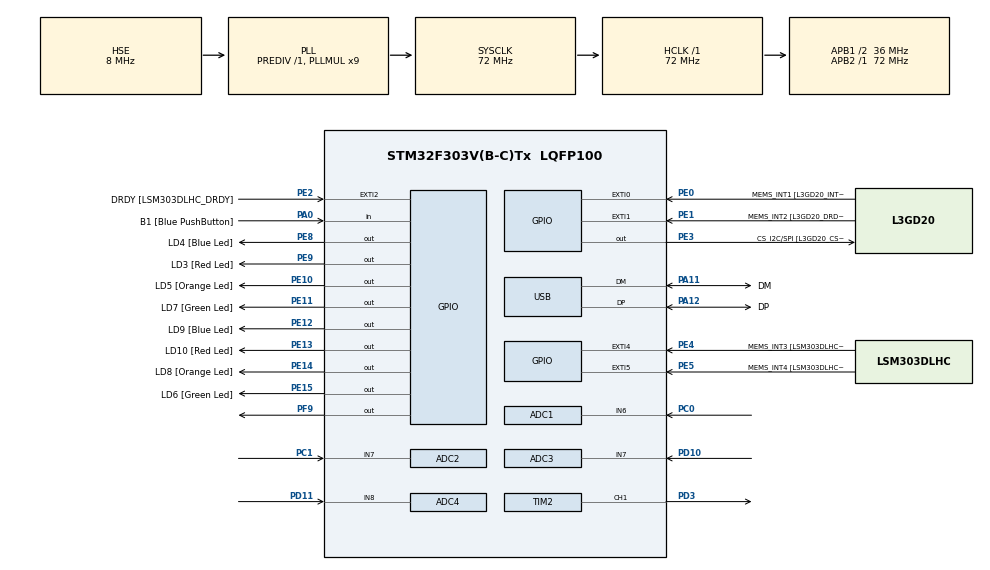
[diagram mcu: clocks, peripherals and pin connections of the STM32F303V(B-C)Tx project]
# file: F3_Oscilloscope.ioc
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ADC1.Channel-0\#ChannelRegularConversion=ADC_CHANNEL_6
ADC1.ClockPrescaler=ADC_CLOCKPRESCALER_PCLK_DIV1
ADC1.DMAAccessMode=ADC_DMAACCESSMODE_8_6_BITS
ADC1.DMAContinuousRequests=ENABLE
ADC1.ExternalTrigConv=ADC_EXTERNALTRIGCONV_T1_TRGO
ADC1.ExternalTrigConvEdge=ADC_EXTERNALTRIGCONVEDGE_RISINGFALLING
ADC1.Mode=ADC_DUALMODE_REGSIMULT
ADC1.NbrOfConversionFlag=1
ADC1.Resolution=ADC_RESOLUTION8b
ADC1.master=1
ADC2.Channel-0\#ChannelRegularConversion=ADC_CHANNEL_7
ADC2.ClockPrescaler=ADC_CLOCKPRESCALER_PCLK_DIV1
ADC2.DMAAccessMode=ADC_DMAACCESSMODE_8_6_BITS
ADC2.Mode=ADC_DUALMODE_REGSIMULT
ADC2.NbrOfConversionFlag=1
ADC2.Resolution=ADC_RESOLUTION8b
ADC3.ClockPrescaler=ADC_CLOCKPRESCALER_PCLK_DIV1
ADC3.DMAAccessMode=ADC_DMAACCESSMODE_8_6_BITS
ADC3.ExternalTrigConv=ADC_EXTERNALTRIGCONV_T1_TRGO2
ADC3.ExternalTrigConvEdge=ADC_EXTERNALTRIGCONVEDGE_RISINGFALLING
ADC3.Mode=ADC_DUALMODE_REGSIMULT
ADC3.Resolution=ADC_RESOLUTION8b
ADC3.master=1
ADC4.ClockPrescaler=ADC_CLOCKPRESCALER_PCLK_DIV1
ADC4.DMAAccessMode=ADC_DMAACCESSMODE_8_6_BITS
ADC4.Mode=ADC_DUALMODE_REGSIMULT
ADC4.Resolution=ADC_RESOLUTION8b
Dma.ADC1.0.Direction=DMA_PERIPH_TO_MEMORY
Dma.ADC1.0.Instance=DMA1_Channel1
Dma.ADC1.0.MemDataAlignment=DMA_MDATAALIGN_HALFWORD
Dma.ADC1.0.MemInc=DMA_MINC_ENABLE
Dma.ADC1.0.Mode=DMA_NORMAL
Dma.ADC1.0.PeriphDataAlignment=DMA_PDATAALIGN_HALFWORD
Dma.ADC1.0.PeriphInc=DMA_PINC_DISABLE
Dma.ADC1.0.Priority=DMA_PRIORITY_HIGH
Dma.ADC3.1.Direction=DMA_PERIPH_TO_MEMORY
Dma.ADC3.1.Instance=DMA2_Channel5
Dma.ADC3.1.MemDataAlignment=DMA_MDATAALIGN_HALFWORD
Dma.ADC3.1.MemInc=DMA_MINC_ENABLE
Dma.ADC3.1.Mode=DMA_NORMAL
Dma.ADC3.1.PeriphDataAlignment=DMA_PDATAALIGN_HALFWORD
Dma.ADC3.1.PeriphInc=DMA_PINC_DISABLE
Dma.ADC3.1.Priority=DMA_PRIORITY_HIGH
Dma.Request0=ADC1
Dma.Request1=ADC3
Mcu.Family=STM32F3
Mcu.Name=STM32F303V(B-C)Tx
Mcu.Package=LQFP100
NVIC.PriorityGroup=NVIC_PRIORITYGROUP_0
NVIC.USB_LP_CAN_RX0_IRQn=true\:0\:0\:false
PA0.GPIO_Label=B1 [Blue PushButton]
PA0.GPIO_Mode=GPIO_MODE_INPUT
PA0.GPIO_PuPd=GPIO_NOPULL
PA0.Signal=GPIO_Input
PA11.GPIO_Label=DM
PA11.GPIO_Mode=GPIO_MODE_AF_PP
PA11.GPIO_PuPd=GPIO_NOPULL
PA11.GPIO_Speed=GPIO_SPEED_LOW
PA11.Mode=Device
PA11.Signal=USB_DM
PA12.GPIO_Label=DP
PA12.GPIO_Mode=GPIO_MODE_AF_PP
PA12.GPIO_PuPd=GPIO_NOPULL
PA12.GPIO_Speed=GPIO_SPEED_LOW
PA12.Mode=Device
PA12.Signal=USB_DP
PA13.GPIO_Label=SWDIO
PA13.Mode=Trace-Asynchronous_SW
PA13.Signal=SYS_JTMS-SWDIO
PA14.GPIO_Label=SWCLK
PA14.Mode=Trace-Asynchronous_SW
PA14.Signal=SYS_JTCK-SWCLK
PA5.GPIO_Label=SPI1_SCK [L3GD20_SCL/SPC]
PA5.GPIO_Mode=GPIO_MODE_AF_PP
PA5.GPIO_PuPd=GPIO_NOPULL
PA5.GPIO_Speed=GPIO_SPEED_LOW
PA5.Signal=SPI1_SCK
PA6.GPIO_Label=SPI1_MISO [L3GD20_SA0/SDO]
PA6.GPIO_Mode=GPIO_MODE_AF_PP
PA6.GPIO_PuPd=GPIO_NOPULL
PA6.GPIO_Speed=GPIO_SPEED_LOW
PA6.Signal=SPI1_MISO
PA7.GPIO_Label=SPI1_MISO [L3GD20_SDA/SDI/SDO]
PA7.GPIO_Mode=GPIO_MODE_AF_PP
PA7.GPIO_PuPd=GPIO_NOPULL
PA7.GPIO_Speed=GPIO_SPEED_LOW
PA7.Signal=SPI1_MOSI
PB3.GPIO_Label=SWO
PB3.Mode=Trace-Asynchronous_SW
PB3.Signal=SYS_JTDO-TRACESWO
PB6.GPIO_FM6=__NULL
PB6.GPIO_Label=I2C1_SCL [LSM303DLHC_SCL]
PB6.GPIO_Mode=GPIO_MODE_AF_OD
PB6.GPIO_PuPd=GPIO_NOPULL
PB6.GPIO_PuPdOD=GPIO_PULLUP
PB6.GPIO_Speed=GPIO_SPEED_LOW
PB6.Signal=I2C1_SCL
PB7.GPIO_FM7=__NULL
PB7.GPIO_Label=I2C1_SDA [LSM303DLHC_SDA]
PB7.GPIO_Mode=GPIO_MODE_AF_OD
PB7.GPIO_PuPd=GPIO_NOPULL
PB7.GPIO_PuPdOD=GPIO_PULLUP
PB7.GPIO_Speed=GPIO_SPEED_LOW
PB7.Signal=I2C1_SDA
PC0.Signal=ADCx_IN6
PC1.Signal=ADCx_IN7
PC14-OSC32_IN.GPIO_Label=OSC32_IN
PC14-OSC32_IN.Signal=RCC_OSC32_IN
PC15-OSC32_OUT.GPIO_Label=OSC32_OUT
PC15-OSC32_OUT.Signal=RCC_OSC32_OUT
PD10.Signal=ADCx_IN7P
PD11.Signal=ADCx_IN8P
PD3.Signal=S_TIM2_CH1_ETR
PE0.GPIO_Label=MEMS_INT1 [L3GD20_INT1]
PE0.GPIO_ModeDefaultEXTI=GPIO_MODE_EVT_RISING
PE0.GPIO_PuPd=GPIO_NOPULL
PE0.Signal=GPXTI0
PE1.GPIO_Label=MEMS_INT2 [L3GD20_DRDY/INT2]
PE1.GPIO_ModeDefaultEXTI=GPIO_MODE_EVT_RISING
PE1.GPIO_PuPd=GPIO_NOPULL
PE1.Signal=GPXTI1
PE10.GPIO_Label=LD5 [Orange Led]
PE10.GPIO_ModeDefaultOutputPP=GPIO_MODE_OUTPUT_PP
PE10.GPIO_PuPd=GPIO_NOPULL
PE10.GPIO_Speed=GPIO_SPEED_LOW
PE10.Signal=GPIO_Output
PE11.GPIO_Label=LD7 [Green Led]
PE11.GPIO_ModeDefaultOutputPP=GPIO_MODE_OUTPUT_PP
PE11.GPIO_PuPd=GPIO_NOPULL
PE11.GPIO_Speed=GPIO_SPEED_LOW
PE11.Signal=GPIO_Output
PE12.GPIO_Label=LD9 [Blue Led]
PE12.GPIO_ModeDefaultOutputPP=GPIO_MODE_OUTPUT_PP
PE12.GPIO_PuPd=GPIO_NOPULL
PE12.GPIO_Speed=GPIO_SPEED_LOW
PE12.Signal=GPIO_Output
PE13.GPIO_Label=LD10 [Red Led]
PE13.GPIO_ModeDefaultOutputPP=GPIO_MODE_OUTPUT_PP
PE13.GPIO_PuPd=GPIO_NOPULL
PE13.GPIO_Speed=GPIO_SPEED_LOW
PE13.Signal=GPIO_Output
PE14.GPIO_Label=LD8 [Orange Led]
PE14.GPIO_ModeDefaultOutputPP=GPIO_MODE_OUTPUT_PP
PE14.GPIO_PuPd=GPIO_NOPULL
PE14.GPIO_Speed=GPIO_SPEED_LOW
PE14.Signal=GPIO_Output
PE15.GPIO_Label=LD6 [Green Led]
PE15.GPIO_ModeDefaultOutputPP=GPIO_MODE_OUTPUT_PP
PE15.GPIO_PuPd=GPIO_NOPULL
PE15.GPIO_Speed=GPIO_SPEED_LOW
PE15.Signal=GPIO_Output
PE2.GPIO_Label=DRDY [LSM303DLHC_DRDY]
PE2.GPIO_ModeDefaultEXTI=GPIO_MODE_EVT_RISING
PE2.GPIO_PuPd=GPIO_NOPULL
PE2.Signal=GPXTI2
PE3.GPIO_Label=CS_I2C/SPI [L3GD20_CS_I2C/SPI]
PE3.GPIO_ModeDefaultOutputPP=GPIO_MODE_OUTPUT_PP
PE3.GPIO_PuPd=GPIO_NOPULL
PE3.GPIO_Speed=GPIO_SPEED_LOW
PE3.Signal=GPIO_Output
PE4.GPIO_Label=MEMS_INT3 [LSM303DLHC_INT1]
PE4.GPIO_ModeDefaultEXTI=GPIO_MODE_EVT_RISING
PE4.GPIO_PuPd=GPIO_NOPULL
PE4.Signal=GPXTI4
PE5.GPIO_Label=MEMS_INT4 [LSM303DLHC_INT2]
PE5.GPIO_ModeDefaultEXTI=GPIO_MODE_EVT_RISING
PE5.GPIO_PuPd=GPIO_NOPULL
PE5.Signal=GPXTI5
PE8.GPIO_Label=LD4 [Blue Led]
PE8.GPIO_ModeDefaultOutputPP=GPIO_MODE_OUTPUT_PP
PE8.GPIO_PuPd=GPIO_NOPULL
PE8.GPIO_Speed=GPIO_SPEED_LOW
PE8.Signal=GPIO_Output
PE9.GPIO_Label=LD3 [Red Led]
PE9.GPIO_ModeDefaultOutputPP=GPIO_MODE_OUTPUT_PP
PE9.GPIO_PuPd=GPIO_NOPULL
PE9.GPIO_Speed=GPIO_SPEED_LOW
PE9.Signal=GPIO_Output
PF0-OSC_IN.GPIO_Label=OSC_IN
PF0-OSC_IN.Mode=HSE-External-Oscillator
PF0-OSC_IN.Signal=RCC_OSC_IN
PF1-OSC_OUT.GPIO_Label=OSC_OUT
PF1-OSC_OUT.Mode=HSE-External-Oscillator
PF1-OSC_OUT.Signal=RCC_OSC_OUT
PF9.Signal=GPIO_Output
ProjectManager.TargetToolchain=MDK-ARM 4.73
RCC.AHBFreq_Value=72000000
RCC.APB1CLKDivider=RCC_HCLK_DIV2
RCC.APB1Freq_Value=36000000
RCC.APB1TimFreq_Value=72000000
RCC.APB2Freq_Value=72000000
RCC.APB2TimFreq_Value=72000000
RCC.CortexFreq_Value=9000000
RCC.HCLKFreq_Value=72000000
RCC.HSE_VALUE=8000000
RCC.HSIState=RCC_HSI_ON
RCC.HSI_VALUE=8000000
RCC.LSE_VALUE=32768
RCC.PLLMUL=RCC_PLL_MUL9
RCC.PRESCALERUSB=RCC_USBPLLCLK_DIV1_5
RCC.SYSCLKFreq_VALUE=72000000
RCC.SYSCLKSourceVirtual=RCC_SYSCLKSOURCE_PLLCLK
RCC.USBFreq_Value=48000000
SH.ADCx_IN6.0=ADC1_IN6,IN6-Single-Ended
SH.ADCx_IN7.0=ADC2_IN7,IN7-Single-Ended
SH.ADCx_IN7P.0=ADC3_IN7,IN7-Single-Ended
SH.ADCx_IN8P.0=ADC4_IN8,IN8-Single-Ended
SH.S_TIM2_CH1_ETR.0=TIM2_CH1,PWM Generation1 CH1
TIM1.Period=11
TIM1.TIM_MasterOutputTrigger=TIM_TRGO_UPDATE
TIM1.TIM_MasterOutputTrigger2=TIM_TRGO2_UPDATE
TIM1.TIM_MasterSlaveMode=TIM_MASTERSLAVEMODE_ENABLE
TIM2.Period=49
TIM2.Prescaler=71
TIM2.Pulse-PWM\ Generation1\ CH1=20
USB_DEVICE.CLASS_NAME-CDC_FS=CDC
USB_DEVICE.MANUFACTURER_STRING-CDC_FS=A.S.Tech
USB_DEVICE.PRODUCT_STRING_FS-CDC_FS=USB Oscilloscope
USB_DEVICE.USBD_HandleTypeDef-CDC_FS=hUsbDeviceFS
USB_DEVICE.VirtualMode-CDC_FS=Cdc
USB_DEVICE.VirtualModeFS-CDC_FS=Cdc_FS
VP_TIM1_VS_ClockSourceINT.Mode=Internal
VP_TIM2_VS_ClockSourceINT.Mode=Internal
VP_USB_DEVICE_VS_USB_DEVICE_CDC_FS.Mode=CDC_FS

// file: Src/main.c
/**
  ******************************************************************************
  * File Name          : main.c
  * Date               : 06/03/2015 23:45:18
  * Description        : Main program body
  ******************************************************************************
  *
  * COPYRIGHT(c) 2015 STMicroelectronics
  *
  * Redistribution and use in source and binary forms, with or without modification,
  * are permitted provided that the following conditions are met:
  *   1. Redistributions of source code must retain the above copyright notice,
  *      this list of conditions and the following disclaimer.
  *   2. Redistributions in binary form must reproduce the above copyright notice,
  *      this list of conditions and the following disclaimer in the documentation
  *      and/or other materials provided with the distribution.
  *   3. Neither the name of STMicroelectronics nor the names of its contributors
  *      may be used to endorse or promote products derived from this software
  *      without specific prior written permission.
  *
  * THIS SOFTWARE IS PROVIDED BY THE COPYRIGHT HOLDERS AND CONTRIBUTORS "AS IS"
  * AND ANY EXPRESS OR IMPLIED WARRANTIES, INCLUDING, BUT NOT LIMITED TO, THE
  * IMPLIED WARRANTIES OF MERCHANTABILITY AND FITNESS FOR A PARTICULAR PURPOSE ARE
  * DISCLAIMED. IN NO EVENT SHALL THE COPYRIGHT HOLDER OR CONTRIBUTORS BE LIABLE
  * FOR ANY DIRECT, INDIRECT, INCIDENTAL, SPECIAL, EXEMPLARY, OR CONSEQUENTIAL
  * DAMAGES (INCLUDING, BUT NOT LIMITED TO, PROCUREMENT OF SUBSTITUTE GOODS OR
  * SERVICES; LOSS OF USE, DATA, OR PROFITS; OR BUSINESS INTERRUPTION) HOWEVER
  * CAUSED AND ON ANY THEORY OF LIABILITY, WHETHER IN CONTRACT, STRICT LIABILITY,
  * OR TORT (INCLUDING NEGLIGENCE OR OTHERWISE) ARISING IN ANY WAY OUT OF THE USE
  * OF THIS SOFTWARE, EVEN IF ADVISED OF THE POSSIBILITY OF SUCH DAMAGE.
  *
  ******************************************************************************
  */

#include "stm32f3xx_hal.h"
#include "adc.h"
#include "dma.h"
#include "tim.h"
#include "usb_device.h"
#include "gpio.h"

/* USER CODE BEGIN Includes */
#include "oscilloscope.h"

extern uint8_t CDC_Transmit_FS(uint8_t* Buf, uint16_t Len);
/* USER CODE END Includes */

/* USER CODE BEGIN PV */

uint8_t adc_data[ADC_BUFFER_LENGTH*4];
extern DMA_HandleTypeDef hdma_adc1;
extern DMA_HandleTypeDef hdma_adc3;
uint8_t data_request_flag = 0;
volatile uint8_t config_change_flag = 0;
uint16_t points_per_screen;
uint8_t trigger_found;
uint16_t trigger_point;
struct _config_struct config;
struct _config_struct temp_config;

const uint16_t sampling_parameters[] = {
    /*   N     Res.     ADC freq.     Pts/scr   Tim.period	*/

		/*   0 -  500 ns - 7200000 Hz */    36,       10,
		/*   1 -    1 us - 7200000 Hz */    72,       10,
		/*   2 -    2 us - 7200000 Hz */    144,      10,
		/*   3 -    5 us - 7200000 Hz */    360,      10,
		/*   4 -   10 us - 7200000 Hz */    720,      10,
		/*   5 -   20 us - 7200000 Hz */    1440,     10,
		/*   6 -   50 us - 7200000 Hz */    3600,     10,
		/*   7 -  100 us - 4000000 Hz */    4000,     18,
		/*   8 -  200 us - 2000000 Hz */    4000,     36,
		/*   9 -  500 us -  800000 Hz */    4000,     90,
		/*  10 -    1 ms -  400000 Hz */    4000,     180,
		/*  11 -    2 ms -  200000 Hz */    4000,     360,
		/*  12 -    5 ms -   80000 Hz */    4000,     900,
		/*  13 -   10 ms -   40000 Hz */    4000,     1800,
		/*  14 -   20 ms -   20000 Hz */    4000,     3600,
		/*  15 -   50 ms -    8000 Hz */    4000,     9000,
		/*  16 -  100 ms -    2000 Hz */    2000,    36000,
		/*  17 -  200 ms -    2000 Hz */    4000,    36000,
	  /*  18 -  500 ms -    2000 Hz */   10000,    36000,
		/*  19 -    1 s  -    2000 Hz */   20000,    36000,

		/* Conversion time - 8.5 cycles for 8 bit */
};

/* USER CODE END PV */

void SystemClock_Config(void);

/* USER CODE BEGIN PFP */

void Apply_Sampling_Parameters(void)
{

  htim1.Init.Period = sampling_parameters[config.resolution*2+1]-1;
	htim1.Init.ClockDivision = TIM_CLOCKDIVISION_DIV1;

  HAL_TIM_Base_Init(&htim1);
	points_per_screen = sampling_parameters[config.resolution*2];

};

/* USER CODE END PFP */

int main(void)
{

  /* USER CODE BEGIN 1 */
	#define HEADER_SIZE 4
	uint8_t header[HEADER_SIZE] = {0};
	uint16_t offset;
	uint8_t triggered = 0;
	uint16_t i;

	config.channel_mask = OSCIL_CH1 | OSCIL_CH2 | OSCIL_CH3 | OSCIL_CH4;
	config.resolution = 7;
	config.trigger_channel = 1;
	config.trigger_type = TRIGGER_TYPE_RISING;
	config.trigger_level = 100;
	config.trigger_position = 6;

	temp_config = config;

  /* USER CODE END 1 */

  /* MCU Configuration----------------------------------------------------------*/

  /* Reset of all peripherals, Initializes the Flash interface and the Systick. */
  HAL_Init();

  /* Configure the system clock */
  SystemClock_Config();

  /* Initialize all configured peripherals */
  MX_GPIO_Init();
  MX_DMA_Init();
  MX_ADC1_Init();
  MX_ADC2_Init();
  MX_ADC3_Init();
  MX_ADC4_Init();
  MX_TIM1_Init();
  MX_TIM2_Init();
  MX_USB_DEVICE_Init();

  /* USER CODE BEGIN 2 */
	HAL_GPIO_WritePin(GPIOF,GPIO_PIN_9,GPIO_PIN_RESET);
	HAL_Delay(500);
	HAL_GPIO_WritePin(GPIOF,GPIO_PIN_9,GPIO_PIN_SET);
	HAL_Delay(500);
	HAL_ADCEx_MultiModeStop_DMA(&hadc1);
	HAL_ADCEx_MultiModeStop_DMA(&hadc3);
	HAL_TIM_PWM_Start(&htim2,TIM_CHANNEL_1);
	Apply_Sampling_Parameters();

	/* USER CODE END 2 */

  /* USER CODE BEGIN 3 */
  /* Infinite loop */
  while (1)
  {
		if (config_change_flag)
		{
			config.resolution = temp_config.resolution;
			config.trigger_position = temp_config.trigger_position;
			config.trigger_level = temp_config.trigger_level;
			config.trigger_type = temp_config.trigger_type;
			config.trigger_channel = temp_config.trigger_channel;
			Apply_Sampling_Parameters();
			config_change_flag = 0;
		};

		if (config.resolution <= 15) { // sampling mode

			HAL_GPIO_WritePin(GPIOE, GPIO_PIN_10, GPIO_PIN_SET);

			HAL_ADCEx_MultiModeStart_DMA(&hadc1, (uint32_t*)adc_data, ADC_BUFFER_LENGTH);
			HAL_ADCEx_MultiModeStart_DMA(&hadc3, (uint32_t*)adc_data + ADC_BUFFER_LENGTH/2, ADC_BUFFER_LENGTH);
			HAL_TIM_Base_Start(&htim1);
			HAL_DMA_PollForTransfer(&hdma_adc1,HAL_DMA_FULL_TRANSFER,1000);
			HAL_DMA_PollForTransfer(&hdma_adc3,HAL_DMA_FULL_TRANSFER,1000);
			HAL_TIM_Base_Stop(&htim1);
			HAL_ADCEx_MultiModeStop_DMA(&hadc1);
			HAL_ADCEx_MultiModeStop_DMA(&hadc3);
			HAL_ADC_Stop(&hadc1);
			HAL_ADC_Stop(&hadc3);

			HAL_GPIO_WritePin(GPIOE, GPIO_PIN_10, GPIO_PIN_RESET);

			trigger_point = 0;
			triggered = 0;
			offset = (points_per_screen*config.trigger_position)/10*2;
			if ((config.trigger_channel == 3) || (config.trigger_channel == 4))
				offset += ADC_BUFFER_LENGTH*2;
			if ((config.trigger_channel == 2) || (config.trigger_channel == 4))
				offset += 1;

			if (config.trigger_type == TRIGGER_TYPE_RISING) {
				for (i = 0; i < (ADC_BUFFER_LENGTH-points_per_screen-2); i++)
					if ((adc_data[i*2+offset] < config.trigger_level) && (adc_data[(i+1)*2+offset] >= config.trigger_level)) {
						trigger_point = i+1;
						triggered = 1;
					};
			} else {
				for (i = 0; i < (ADC_BUFFER_LENGTH-points_per_screen-2); i++)
					if ((adc_data[i*2+offset] >= config.trigger_level) && (adc_data[(i+1)*2+offset] < config.trigger_level)) {
						trigger_point = i+1;
						triggered = 1;
					};
			};

			if (data_request_flag) {
				header[0] = config.resolution;
				header[1] = points_per_screen>>8;
				header[2] = points_per_screen&0xFF;
				header[3] = triggered;
				CDC_Transmit_FS(header,HEADER_SIZE);
				CDC_Transmit_FS(adc_data+trigger_point*2, points_per_screen);
				CDC_Transmit_FS(adc_data+trigger_point*2+points_per_screen, points_per_screen);
				CDC_Transmit_FS(adc_data+trigger_point*2+ADC_BUFFER_LENGTH*2, points_per_screen);
				CDC_Transmit_FS(adc_data+trigger_point*2+ADC_BUFFER_LENGTH*2+points_per_screen, points_per_screen);
				data_request_flag = 0;
			};

		} else { // scan mode

			#define SHORT_BUFFER_LENGTH 100
			#define SND_BUF SHORT_BUFFER_LENGTH*4
			static uint8_t current_buffer = 0;
			HAL_ADCEx_MultiModeStart_DMA(&hadc1, (uint32_t*)adc_data + SND_BUF/4*current_buffer, SHORT_BUFFER_LENGTH);
			HAL_ADCEx_MultiModeStart_DMA(&hadc3, (uint32_t*)adc_data + SND_BUF/4*current_buffer + SHORT_BUFFER_LENGTH/2, SHORT_BUFFER_LENGTH);
			HAL_TIM_Base_Start(&htim1);
			HAL_DMA_PollForTransfer(&hdma_adc1,HAL_DMA_FULL_TRANSFER,1000);
			HAL_DMA_PollForTransfer(&hdma_adc3,HAL_DMA_FULL_TRANSFER,1000);
			HAL_TIM_Base_Stop(&htim1);
			HAL_ADCEx_MultiModeStop_DMA(&hadc1);
			HAL_ADCEx_MultiModeStop_DMA(&hadc3);
			HAL_ADC_Stop(&hadc1);
			HAL_ADC_Stop(&hadc3);

			if (data_request_flag) {
				HAL_GPIO_TogglePin(GPIOE,GPIO_PIN_15);
				header[0] = config.resolution;
				header[1] = SHORT_BUFFER_LENGTH>>8;
				header[2] = SHORT_BUFFER_LENGTH&0xFF;
				header[3] = triggered;
				CDC_Transmit_FS(header,HEADER_SIZE);
				// fix wrong first value
				*(adc_data+SND_BUF*current_buffer + 0) = *(adc_data+SND_BUF*current_buffer + 2);
				*(adc_data+SND_BUF*current_buffer + 1) = *(adc_data+SND_BUF*current_buffer + 3);
				*(adc_data+SND_BUF*current_buffer + SHORT_BUFFER_LENGTH*2 + 0) = *(adc_data+SND_BUF*current_buffer + SHORT_BUFFER_LENGTH*2 + 2);
				*(adc_data+SND_BUF*current_buffer + SHORT_BUFFER_LENGTH*2 + 1) = *(adc_data+SND_BUF*current_buffer + SHORT_BUFFER_LENGTH*2 + 3);
				CDC_Transmit_FS(adc_data + SND_BUF*current_buffer, SHORT_BUFFER_LENGTH*4);
				data_request_flag = 0;
			};
			current_buffer ^= 1;
		};
  }
  /* USER CODE END 3 */

}

/** System Clock Configuration
*/
void SystemClock_Config(void)
{

  RCC_OscInitTypeDef RCC_OscInitStruct;
  RCC_ClkInitTypeDef RCC_ClkInitStruct;
  RCC_PeriphCLKInitTypeDef PeriphClkInit;

  RCC_OscInitStruct.OscillatorType = RCC_OSCILLATORTYPE_HSE;
  RCC_OscInitStruct.HSEState = RCC_HSE_ON;
  RCC_OscInitStruct.HSEPredivValue = RCC_HSE_PREDIV_DIV1;
  RCC_OscInitStruct.PLL.PLLState = RCC_PLL_ON;
  RCC_OscInitStruct.PLL.PLLSource = RCC_PLLSOURCE_HSE;
  RCC_OscInitStruct.PLL.PLLMUL = RCC_PLL_MUL9;
  HAL_RCC_OscConfig(&RCC_OscInitStruct);

  RCC_ClkInitStruct.ClockType = RCC_CLOCKTYPE_SYSCLK|RCC_CLOCKTYPE_PCLK1;
  RCC_ClkInitStruct.SYSCLKSource = RCC_SYSCLKSOURCE_PLLCLK;
  RCC_ClkInitStruct.AHBCLKDivider = RCC_SYSCLK_DIV1;
  RCC_ClkInitStruct.APB1CLKDivider = RCC_HCLK_DIV2;
  RCC_ClkInitStruct.APB2CLKDivider = RCC_HCLK_DIV1;
  HAL_RCC_ClockConfig(&RCC_ClkInitStruct, FLASH_LATENCY_2);

  PeriphClkInit.PeriphClockSelection = RCC_PERIPHCLK_USB|RCC_PERIPHCLK_TIM1;
  PeriphClkInit.USBClockSelection = RCC_USBPLLCLK_DIV1_5;
  PeriphClkInit.Tim1ClockSelection = RCC_TIM1CLK_HCLK;
  HAL_RCCEx_PeriphCLKConfig(&PeriphClkInit);

  __SYSCFG_CLK_ENABLE();

}

/************************ (C) COPYRIGHT STMicroelectronics *****END OF FILE****/
